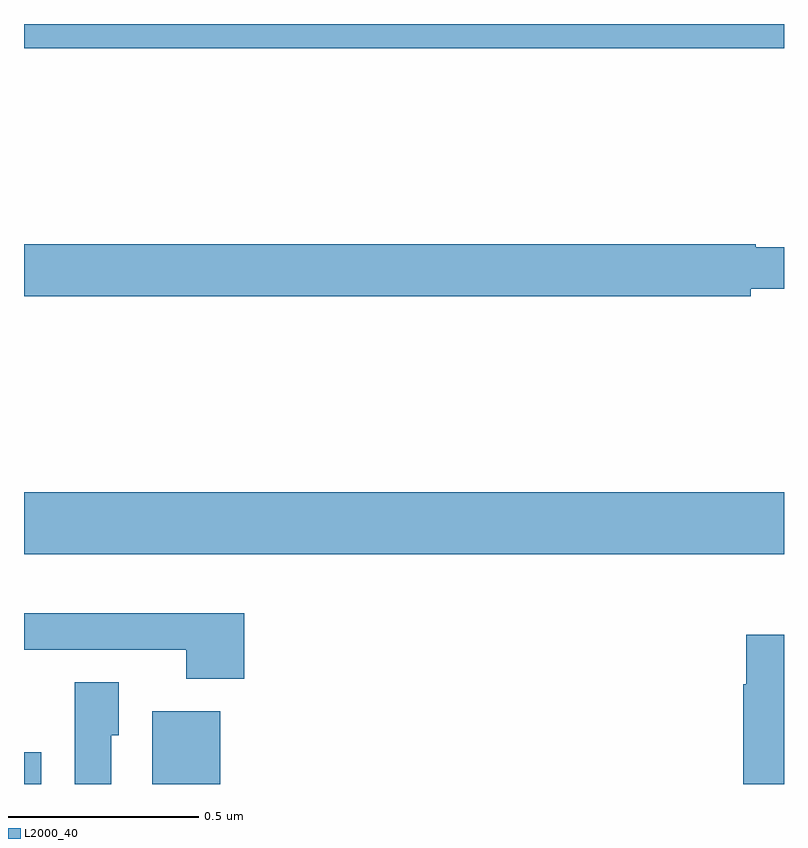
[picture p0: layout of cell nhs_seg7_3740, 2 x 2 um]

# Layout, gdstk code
import gdstk
lib = gdstk.Library(unit=1e-6, precision=1e-09)
def R(c, l, rs):  # rectangles x0, y0, x1, y1
    for r in rs: c.add(gdstk.rectangle(r[:2], r[2:], *l))
def P(c, l, *ps):  # polygons
    for p in ps: c.add(gdstk.Polygon(p, *l))
L2000_40 = (2000, 40)

nhs_seg7_3740 = lib.new_cell('nhs_seg7_3740')
R(nhs_seg7_3740, L2000_40, [(163,1012,163.045,1012.084), (163.337,1012,163.516,1012.192), (163,1012.604,165,1012.768), (163,1013.936,165,1014)])
P(nhs_seg7_3740, L2000_40, [(164.912,1013.303),(165,1013.303),(165,1013.413),(164.926,1013.413),(164.926,1013.42),(163,1013.42),(163,1013.284),(164.912,1013.284)],
  [(163.58,1012.45),(163,1012.45),(163,1012.353),(163.427,1012.353),(163.427,1012.277),(163.58,1012.277)],
  [(165,1012.393),(164.9,1012.393),(164.9,1012.263),(164.893,1012.263),(164.893,1012),(165,1012)],
  [(163.23,1012.128),(163.249,1012.128),(163.249,1012.268),(163.134,1012.268),(163.134,1012),(163.23,1012)])

lib.write_gds('nhs_seg7_3740.gds')
